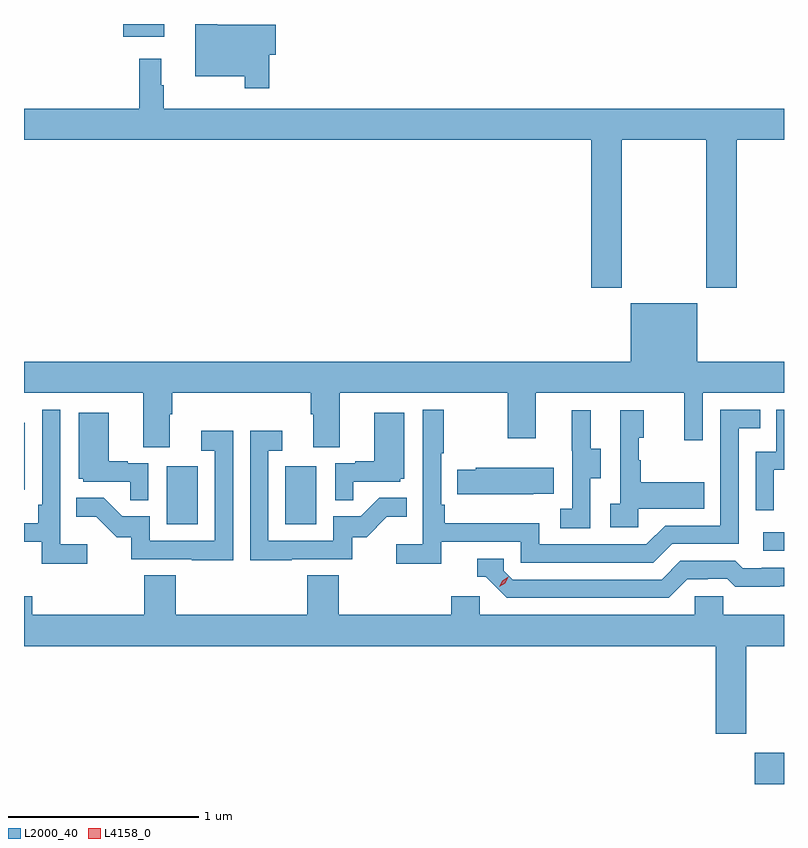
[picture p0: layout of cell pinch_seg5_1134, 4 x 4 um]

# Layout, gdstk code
import gdstk
lib = gdstk.Library(unit=1e-6, precision=1e-09)
def R(c, l, rs):  # rectangles x0, y0, x1, y1
    for r in rs: c.add(gdstk.rectangle(r[:2], r[2:], *l))
def P(c, l, *ps):  # polygons
    for p in ps: c.add(gdstk.Polygon(p, *l))
L2000_40 = (2000, 40)
L4158_0 = (4158, 0)

pinch_seg5_1134 = lib.new_cell('pinch_seg5_1134')
R(pinch_seg5_1134, L2000_40, [(871.31,849.374,871.463,849.538), (871.353,850.602,871.463,850.698), (868.214,850.74,868.378,851.047), (868.838,850.74,869.002,851.047), (867.463,850.922,867.466,851.275), (867.986,853.307,868.201,853.374)])
P(pinch_seg5_1134, L2000_40, [(868.754,853.211),(868.789,853.211),(868.789,853.369),(868.481,853.369),(868.481,853.374),(868.364,853.374),(868.364,853.1),(868.626,853.1),(868.626,853.035),(868.754,853.035)],
  [(870.609,852.764),(871.054,852.764),(871.054,851.985),(871.214,851.985),(871.214,852.764),(871.463,852.764),(871.463,852.928),(868.198,852.928),(868.198,853.052),(868.186,853.052),(868.186,853.192),(868.069,853.192),(868.069,852.928),(867.463,852.928),(867.463,852.764),(870.449,852.764),(870.449,851.985),(870.609,851.985)],
  [(868.231,851.32),(868.244,851.32),(868.244,851.432),(868.973,851.432),(868.973,851.32),(868.985,851.32),(868.985,851.146),(869.125,851.146),(869.125,851.432),(870.01,851.432),(870.01,851.193),(870.157,851.193),(870.157,851.432),(870.938,851.432),(870.938,851.184),(871.035,851.184),(871.035,851.432),(871.463,851.432),(871.463,851.596),(871.006,851.596),(871.006,851.905),(870.656,851.905),(870.656,851.596),(867.463,851.596),(867.463,851.432),(868.091,851.432),(868.091,851.146),(868.231,851.146)],
  [(869.66,850.65),(870.078,850.65),(870.078,850.539),(870.775,850.539),(870.874,850.638),(871.224,850.638),(871.224,851.247),(871.337,851.247),(871.337,851.343),(871.128,851.343),(871.128,850.734),(870.837,850.734),(870.738,850.635),(870.174,850.635),(870.174,850.747),(869.678,850.747),(869.678,850.843),(869.658,850.843),(869.658,851.116),(869.671,851.116),(869.671,851.344),(869.562,851.344),(869.562,850.636),(869.421,850.636),(869.421,850.534),(869.66,850.534)],
  [(867.796,850.636),(867.654,850.636),(867.654,851.344),(867.558,851.344),(867.558,850.843),(867.538,850.843),(867.538,850.747),(867.463,850.747),(867.463,850.65),(867.557,850.65),(867.557,850.534),(867.796,850.534)],
  [(871.41,851.027),(871.463,851.027),(871.463,851.343),(871.422,851.343),(871.422,851.124),(871.314,851.124),(871.314,850.815),(871.41,850.815)],
  [(870.696,850.823),(871.043,850.823),(871.043,850.963),(870.709,850.963),(870.709,851.078),(870.699,851.078),(870.699,851.196),(870.724,851.196),(870.724,851.341),(870.6,851.341),(870.6,850.85),(870.549,850.85),(870.549,850.725),(870.696,850.725)],
  [(870.444,850.984),(870.499,850.984),(870.499,851.139),(870.445,851.139),(870.445,851.341),(870.347,851.341),(870.347,851.127),(870.348,851.127),(870.348,850.823),(870.285,850.823),(870.285,850.72),(870.444,850.72)],
  [(868.116,851.061),(868.01,851.061),(868.01,851.074),(867.91,851.074),(867.91,851.329),(867.752,851.329),(867.752,850.98),(867.774,850.98),(867.774,850.965),(868.021,850.965),(868.021,850.867),(868.116,850.867)],
  [(869.195,850.965),(869.442,850.965),(869.442,850.98),(869.464,850.98),(869.464,851.329),(869.306,851.329),(869.306,851.074),(869.207,851.074),(869.207,851.061),(869.1,851.061),(869.1,850.867),(869.195,850.867)],
  [(868.871,850.557),(869.19,850.557),(869.19,850.674),(869.266,850.674),(869.373,850.781),(869.477,850.781),(869.477,850.88),(869.333,850.88),(869.235,850.782),(869.091,850.782),(869.091,850.653),(868.749,850.653),(868.749,851.127),(868.822,851.127),(868.822,851.233),(868.653,851.233),(868.653,850.552),(868.871,850.552)],
  [(868.563,851.233),(868.395,851.233),(868.395,851.127),(868.467,851.127),(868.467,850.653),(868.125,850.653),(868.125,850.782),(867.981,850.782),(867.883,850.88),(867.739,850.88),(867.739,850.781),(867.843,850.781),(867.95,850.674),(868.027,850.674),(868.027,850.557),(868.345,850.557),(868.345,850.552),(868.563,850.552)],
  [(870.143,850.901),(870.251,850.901),(870.251,851.038),(869.841,851.038),(869.841,851.028),(869.743,851.028),(869.743,850.898),(870.143,850.898)],
  [(870.955,850.452),(871.062,850.452),(871.062,850.455),(871.165,850.455),(871.207,850.413),(871.44,850.413),(871.44,850.415),(871.463,850.415),(871.463,850.512),(871.345,850.512),(871.345,850.509),(871.246,850.509),(871.207,850.548),(870.918,850.548),(870.819,850.449),(870.036,850.449),(869.988,850.497),(869.988,850.56),(869.849,850.56),(869.849,850.464),(869.892,850.464),(870.003,850.353),(870.856,850.353)],
  [(871.263,850.1),(871.463,850.1),(871.463,850.264),(871.143,850.264),(871.143,850.362),(870.993,850.362),(870.993,850.264),(869.862,850.264),(869.862,850.362),(869.711,850.362),(869.711,850.264),(869.12,850.264),(869.12,850.472),(868.955,850.472),(868.955,850.264),(868.262,850.264),(868.262,850.472),(868.097,850.472),(868.097,850.264),(867.506,850.264),(867.506,850.362),(867.463,850.362),(867.463,850.1),(871.103,850.1),(871.103,849.639),(871.263,849.639)])
P(pinch_seg5_1134, L4158_0, [(869.965,850.411),(869.965,850.411),(869.981,850.444),(870.011,850.464),(870.011,850.464),(870.011,850.463),(869.996,850.431),(869.965,850.411)])

lib.write_gds('pinch_seg5_1134.gds')
